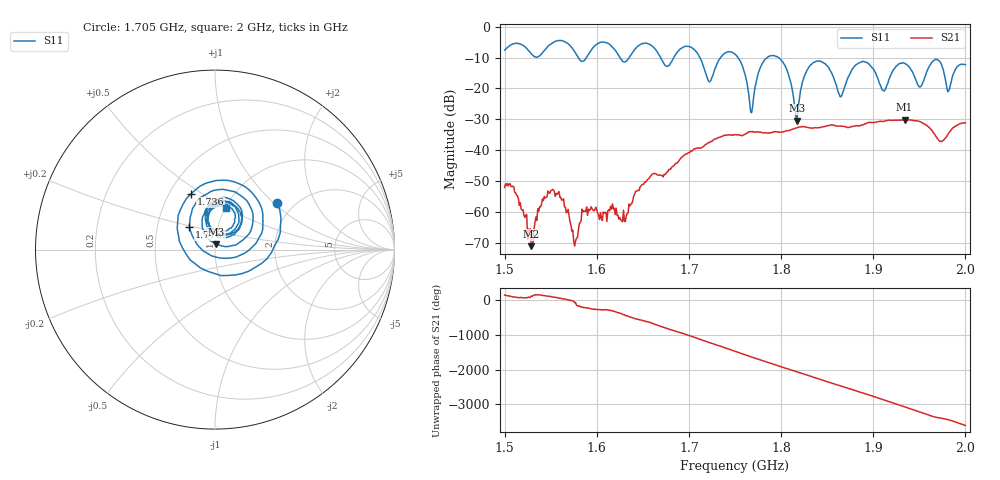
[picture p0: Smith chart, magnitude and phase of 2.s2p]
! NanoVNA-App by SYSJOINT et al v1.1.209 (+OD18)
! Date: 2026-01-21 14:50:07
! Start: 1,5GHz Stop: 2GHz Points: 501
! S-Parameter data: F S11 S21 S12 S22
# Hz S RI R 50
!  Frequency  S11_Real  S11_Imag  S21_Real  S21_Imag  S12_Real  S12_Imag  S22_Real  S22_Imag
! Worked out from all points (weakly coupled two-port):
!   501 points, 1.5 GHz to 2 GHz, reference 50 ohm
!   highest |S21| = -30.13 dB at 1.934 GHz (marker M1); lowest = -71.2 dB at 1.529 GHz (marker M2)
!   lowest |S11| = -30.5 dB at 1.817 GHz (marker M3), VSWR 1.06, Z = 50.6 + j2.94 ohm
!   |S11| at or under -10 dB: 1.712 GHz to 1.734 GHz (22.51 MHz wide, 1.31 % of centre); 1.753 GHz to 1.785 GHz (31.94 MHz wide, 1.81 % of centre); 1.797 GHz to end of sweep (the widest 3 of 6)
!   S12 and S22 are empty: the file has one direction only
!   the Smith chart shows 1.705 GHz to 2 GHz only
!   S11 on the Smith chart (normalised r, x): 1.705 GHz: 1.64, +1.06; 1.736 GHz: 0.64, +0.45; 1.776 GHz: 0.73, +0.19; 2 GHz: 1.01, +0.50
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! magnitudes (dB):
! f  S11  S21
! 1.5 GHz  -7.6  -52.1
! 1.529 GHz  -8.8  -71.2
! 1.551 GHz  -5.5  -53.1
! 1.577 GHz  -8.6  -69.4
! 1.584 GHz  -11.3  -59.2
! 1.629 GHz  -11.4  -59.5
! 1.667 GHz  -8.9  -48.2
! 1.705 GHz  -7.2  -39.8
! 1.722 GHz  -17.9  -37.6
! 1.736 GHz  -9.4  -35.5
! 1.75 GHz  -8.9  -35.0
! 1.768 GHz  -27.9  -34.0
! 1.776 GHz  -14.4  -34.2
! 1.8 GHz  -10.8  -34.2
! 1.817 GHz  -30.5  -32.8
! 1.834 GHz  -11.9  -32.9
! 1.864 GHz  -22.7  -32.2
! 1.887 GHz  -11.4  -31.9
! 1.917 GHz  -17.1  -30.3
! 1.934 GHz  -11.9  -30.1
! 1.982 GHz  -20.8  -34.5
! 2 GHz  -12.4  -31.2
